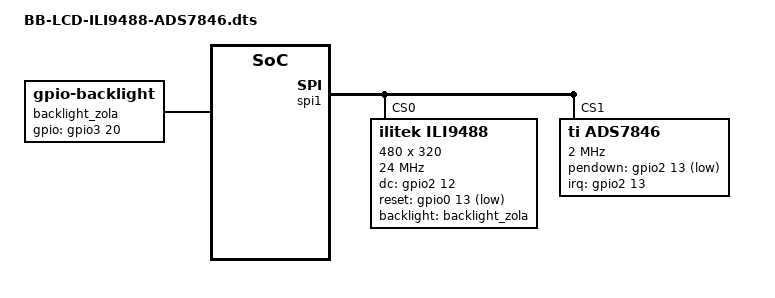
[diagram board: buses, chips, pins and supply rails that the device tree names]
/dts-v1/;
/plugin/;

/ {
    compatible = "ti,beaglebone", "ti,beaglebone-black";
    part-number = "ZOLA-LCD-ILI9488-ADS7846";
    version = "00A1";

    /* Fragment 0: Release J31 pins from legacy OCP/Helper ownership */
    fragment@0 {
        target = <&ocp>;
        __overlay__ {
            P9_31_pinmux { status = "disabled"; }; /* Ball A13: SPI1_SCLK */
            P9_29_pinmux { status = "disabled"; }; /* Ball B13: SPI1_D0 */
            P9_30_pinmux { status = "disabled"; }; /* Ball D12: SPI1_D1 */
            P9_28_pinmux { status = "disabled"; }; /* Ball C13: TP_CS */
            P9_92_pinmux { status = "disabled"; }; /* Ball B12: TFT_CS */
            P8_39_pinmux { status = "disabled"; }; /* free LCD_DATA6 */
            P9_91_pinmux { status = "disabled"; }; /* LCD_LED */
            P8_40_pinmux { status = "disabled"; }; /* LCD_DATA7 / TP_IRQ */
            P9_27_pinmux { status = "disabled"; };
            cape-universal { status = "disabled"; };
        };
    };

    /* Fragment 1: Pinmux: Separate SPI and GPIO Pins */
    fragment@1 {
        target = <&am33xx_pinmux>;
        __overlay__ {
            /* Only SPI1 master pins (SCLK, MISO, MOSI) */
            zola_spi1_pins: pinmux_zola_spi1_pins {
                pinctrl-single,pins = <
                    0x190 0x33   /* MCASP0_ACLKX  -> SPI1_SCLK */
                    0x194 0x33   /* MCASP0_FSX    -> SPI1_MOSI */
                    0x198 0x13   /* MCASP0_AXR0   -> SPI1_MISO */
                    0x1a0 0x07   /* MCASP0_ACLKR  -> SPI1_CS0 (LCD) */
                    0x1a4 0x07   /* MCASP0_FSR    -> SPI1_CS1 (Touch) */
                >;
            };

            /* ---------- LCD GPIO pins (GPMC_Ax / LCD_DATAx) ---------- */
            zola_lcd_gpio_pins: pinmux_zola_lcd_gpio_pins {
                pinctrl-single,pins = <
                    0x0B8 0x07   /* LCD_DATA6 / GPMC_A6 -> GPIO2_12 (TFT_RS) */
                    0x17C 0x07   /* UART1_RTSN → GPIO0_13 (TFT_RST) */
                    0x1A8 0x07   /* MCASP0_AXR1 conf_mcasp0_axr1 → GPIO3_20 (LCD_LED)  */
                >;
            };

            /* ---------- Touch IRQ pin ---------- */
            zola_touch_gpio_pins: pinmux_zola_touch_gpio_pins {
                pinctrl-single,pins = <
                    0x0BC 0x27   /* LCD_DATA7 / GPMC_A7 -> GPIO2_13 (TP_IRQ, pull-up) */
                >;
            };
        };
    };

    /* Fragment 2: Backlight Control */
    fragment@2 {
        target-path = "/";
        __overlay__ {
            backlight_zola: backlight_zola {
                compatible = "gpio-backlight";
                gpios = <&gpio3 20 0>; /* LCD_LED */
                default-on;
            };
        };
    };

    /* Fragment 3: SPI1 controller and device nodes */
    fragment@3 {
        target = <&spi1>;
        __overlay__ {
            status = "okay";
            #address-cells = <1>;
            #size-cells = <0>;

            pinctrl-names = "default";
            pinctrl-0 = <
                &zola_spi1_pins
                &zola_lcd_gpio_pins
                &zola_touch_gpio_pins
            >;

            /delete-node/ channel@0;
            /delete-node/ channel@1;

            /* -------- LCD -------- */
            ili9488@0 {
                compatible = "ilitek,ili9488";
                reg = <0>;
                spi-max-frequency = <24000000>;
                cs-gpios = <&gpio3 18 1>;
                dc-gpios    = <&gpio2 12 0>; /* TFT_RS */
                reset-gpios = <&gpio0 13 1>; /* TFT_RST */
                backlight   = <&backlight_zola>;

                rotation = <270>;
                buswidth = <8>;
                width = <480>;
                height = <320>;
            };

            /* -------- Touch -------- */
            ads7846@1 {
                compatible = "ti,ads7846";
                reg = <1>;                         /* Chip Select 1 (C13) */
                spi-max-frequency = <2000000>;

                /* Touch GPIO Configuration */
                cs-gpios     = <&gpio3 19 1>;
                interrupt-parent = <&gpio2>;
                interrupts = <13 2>;            /* GPIO2_13, falling edge */
                pendown-gpio = <&gpio2 13 1>;   /* active low */

                ti,x-min = /bits/ 16 <200>;
                ti,x-max = /bits/ 16 <3900>;
                ti,y-min = /bits/ 16 <200>;
                ti,y-max = /bits/ 16 <3900>;
                ti,pressure-max = /bits/ 16 <255>;
                status = "okay";
            };
        };
    };
};

